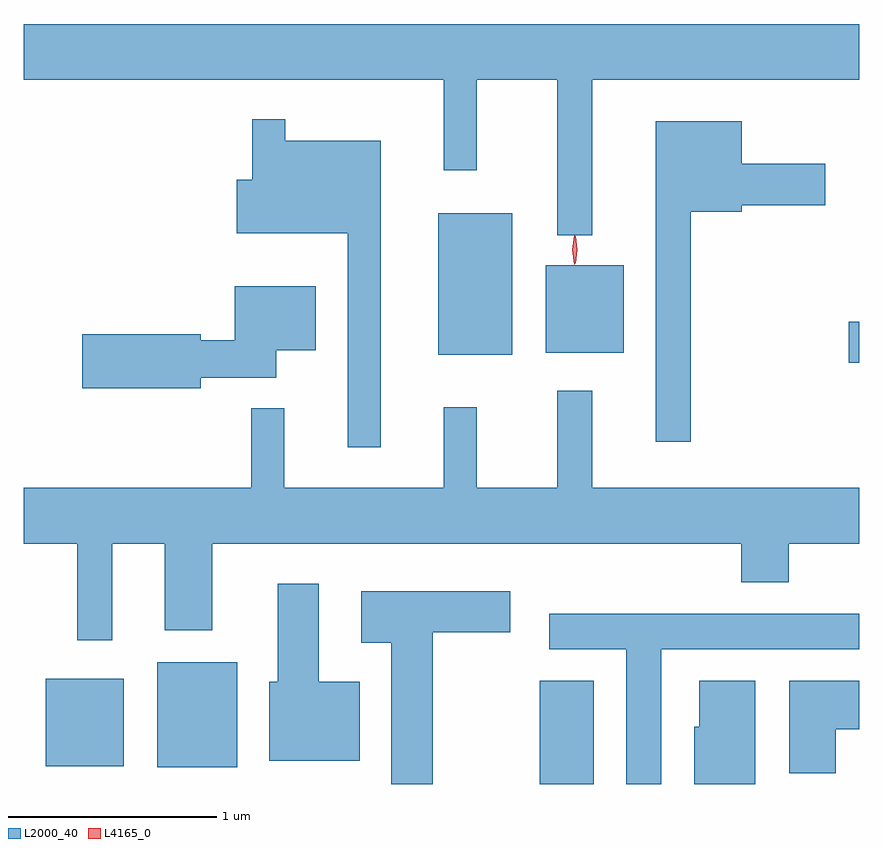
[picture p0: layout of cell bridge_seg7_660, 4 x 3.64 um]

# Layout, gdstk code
import gdstk
lib = gdstk.Library(unit=1e-6, precision=1e-09)
def R(c, l, rs):  # rectangles x0, y0, x1, y1
    for r in rs: c.add(gdstk.rectangle(r[:2], r[2:], *l))
def P(c, l, *ps):  # polygons
    for p in ps: c.add(gdstk.Polygon(p, *l))
L2000_40 = (2000, 40)
L4165_0 = (4165, 0)

bridge_seg7_660 = lib.new_cell('bridge_seg7_660')
R(bridge_seg7_660, L2000_40, [(977.096,1719.825,977.354,1720.319), (975.266,1719.906,975.649,1720.409), (974.731,1719.911,975.104,1720.329), (978.576,1721.841,978.626,1722.039), (976.611,1721.881,976.964,1722.559), (977.126,1721.891,977.499,1722.309)])
P(bridge_seg7_660, L2000_40, [(974.626,1723.196),(976.636,1723.196),(976.636,1722.763),(976.794,1722.763),(976.794,1723.196),(977.181,1723.196),(977.181,1722.453),(977.349,1722.453),(977.349,1723.196),(978.626,1723.196),(978.626,1723.464),(974.626,1723.464)],
  [(976.334,1722.904),(975.879,1722.904),(975.879,1723.008),(975.721,1723.008),(975.721,1722.719),(975.646,1722.719),(975.646,1722.461),(976.176,1722.461),(976.176,1721.438),(976.334,1721.438)],
  [(977.819,1722.566),(978.064,1722.566),(978.064,1722.596),(978.464,1722.596),(978.464,1722.794),(978.064,1722.794),(978.064,1722.999),(977.651,1722.999),(977.651,1721.463),(977.819,1721.463)],
  [(975.474,1721.771),(975.834,1721.771),(975.834,1721.901),(976.024,1721.901),(976.024,1722.209),(975.636,1722.209),(975.636,1721.949),(975.474,1721.949),(975.474,1721.979),(974.906,1721.979),(974.906,1721.721),(975.474,1721.721)],
  [(975.049,1720.976),(975.301,1720.976),(975.301,1720.561),(975.529,1720.561),(975.529,1720.976),(978.061,1720.976),(978.061,1720.791),(978.289,1720.791),(978.289,1720.976),(978.626,1720.976),(978.626,1721.244),(977.349,1721.244),(977.349,1721.708),(977.181,1721.708),(977.181,1721.244),(976.794,1721.244),(976.794,1721.628),(976.636,1721.628),(976.636,1721.244),(975.874,1721.244),(975.874,1721.623),(975.716,1721.623),(975.716,1721.244),(974.626,1721.244),(974.626,1720.976),(974.881,1720.976),(974.881,1720.513),(975.049,1720.513)],
  [(976.234,1720.314),(976.039,1720.314),(976.039,1720.784),(975.841,1720.784),(975.841,1720.314),(975.801,1720.314),(975.801,1719.936),(976.234,1719.936)],
  [(976.584,1720.551),(976.954,1720.551),(976.954,1720.749),(976.241,1720.749),(976.241,1720.501),(976.386,1720.501),(976.386,1719.825),(976.584,1719.825)],
  [(977.679,1720.471),(978.626,1720.471),(978.626,1720.639),(977.143,1720.639),(977.143,1720.471),(977.511,1720.471),(977.511,1719.825),(977.679,1719.825)],
  [(978.514,1720.086),(978.626,1720.086),(978.626,1720.319),(978.291,1720.319),(978.291,1719.876),(978.514,1719.876)],
  [(978.129,1720.319),(977.861,1720.319),(977.861,1720.099),(977.836,1720.099),(977.836,1719.825),(978.129,1719.825)])
P(bridge_seg7_660, L4165_0, [(977.262,1722.313),(977.262,1722.314),(977.252,1722.382),(977.262,1722.45),(977.262,1722.45),(977.263,1722.45),(977.272,1722.382),(977.263,1722.314)],
  [(977.267,1722.318),(977.267,1722.319),(977.257,1722.383),(977.267,1722.447),(977.267,1722.447),(977.268,1722.447),(977.277,1722.383),(977.268,1722.319)])

lib.write_gds('bridge_seg7_660.gds')
